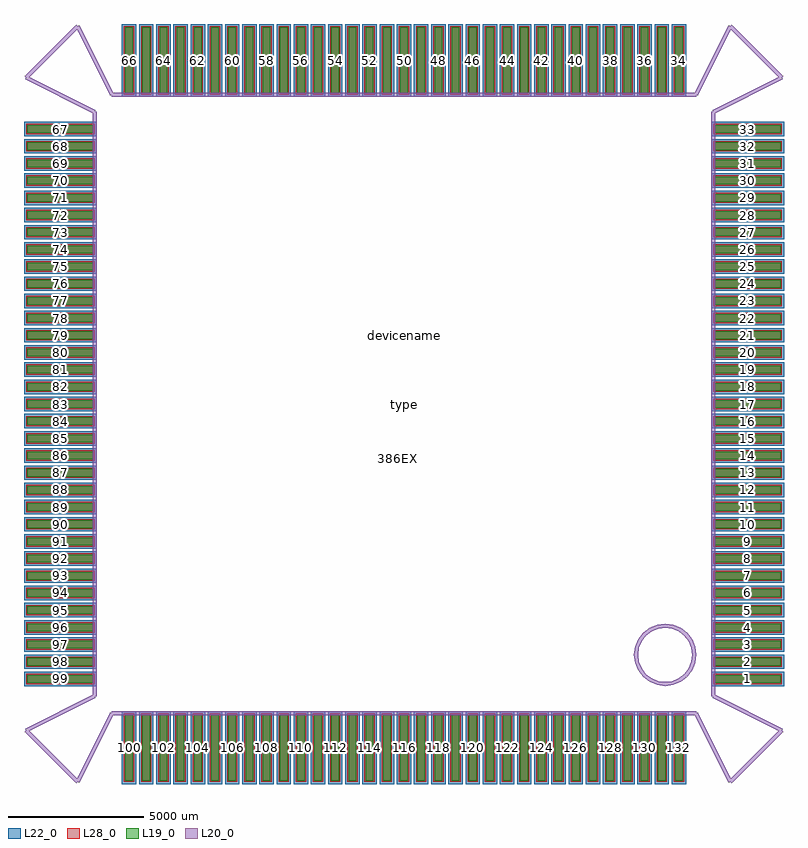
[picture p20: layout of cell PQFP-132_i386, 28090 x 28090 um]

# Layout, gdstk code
import gdstk
lib = gdstk.Library(unit=1e-6, precision=1e-09)
def R(c, l, rs):  # rectangles x0, y0, x1, y1
    for r in rs: c.add(gdstk.rectangle(r[:2], r[2:], *l))
def A(c, l, x, y, w, h, nx, ny, dx, dy):  # array of equal rectangles
    R(c, l, [(x+i*dx, y+j*dy, x+i*dx+w, y+j*dy+h) for i in range(nx) for j in range(ny)])
L19_0 = (19, 0)
L20_0 = (20, 0)
L22_0 = (22, 0)
L28_0 = (28, 0)

pqfp_132_i386 = lib.new_cell('PQFP-132_i386')
A(pqfp_132_i386, L19_0, -10300.5, -13920, 281, 2440, 33, 2, 635, 25400)
A(pqfp_132_i386, L19_0, -13920, -10300.5, 2440, 281, 1, 33, 0, 635)
A(pqfp_132_i386, L19_0, 11480, -10300.5, 2440, 281, 1, 33, 0, 635)
A(pqfp_132_i386, L22_0, -10425.5, -14045, 531, 2690, 33, 2, 635, 25400)
A(pqfp_132_i386, L22_0, -14045, -10425.5, 2690, 531, 1, 33, 0, 635)
A(pqfp_132_i386, L22_0, 11355, -10425.5, 2690, 531, 1, 33, 0, 635)
A(pqfp_132_i386, L28_0, -10350.5, -13970, 381, 2540, 33, 2, 635, 25400)
A(pqfp_132_i386, L28_0, -13970, -10350.5, 2540, 381, 1, 33, 0, 635)
A(pqfp_132_i386, L28_0, 11430, -10350.5, 2540, 381, 1, 33, 0, 635)
pqfp_132_i386.add(gdstk.FlexPath([(10414,-10033),(10585.256,-9809.815),(10692.911,-9549.911),(10729.631,-9271),(10692.911,-8992.089),(10585.256,-8732.185),(10414,-8509),(10190.815,-8337.744),(9930.911,-8230.089),(9652,-8193.369),(9373.089,-8230.089),(9113.185,-8337.744),(8890,-8509),(8718.744,-8732.185),(8611.089,-8992.089),(8574.369,-9271),(8611.089,-9549.911),(8718.744,-9809.815),(8890,-10033),(9113.185,-10204.256),(9373.089,-10311.911),(9652,-10348.631),(9930.911,-10311.911),(10190.815,-10204.256),(10414,-10033)], 149.998, ends="flush", simple_path=True, layer=20, datatype=0))  # L20_0
pqfp_132_i386.add(gdstk.FlexPath([(12065,13970),(10795,11430)], 149.998, ends="flush", simple_path=True, layer=20, datatype=0))  # L20_0
pqfp_132_i386.add(gdstk.FlexPath([(13970,12065),(12065,13970)], 149.998, ends="flush", simple_path=True, layer=20, datatype=0))  # L20_0
pqfp_132_i386.add(gdstk.FlexPath([(11430,10795),(13970,12065)], 149.998, ends="flush", simple_path=True, layer=20, datatype=0))  # L20_0
pqfp_132_i386.add(gdstk.FlexPath([(11430,-10795),(11430,10795)], 149.998, ends="flush", simple_path=True, layer=20, datatype=0))  # L20_0
pqfp_132_i386.add(gdstk.FlexPath([(13970,-12065),(11430,-10795)], 149.998, ends="flush", simple_path=True, layer=20, datatype=0))  # L20_0
pqfp_132_i386.add(gdstk.FlexPath([(12065,-13970),(13970,-12065)], 149.998, ends="flush", simple_path=True, layer=20, datatype=0))  # L20_0
pqfp_132_i386.add(gdstk.FlexPath([(10795,-11430),(12065,-13970)], 149.998, ends="flush", simple_path=True, layer=20, datatype=0))  # L20_0
pqfp_132_i386.add(gdstk.FlexPath([(-10795,-11430),(10795,-11430)], 149.998, ends="flush", simple_path=True, layer=20, datatype=0))  # L20_0
pqfp_132_i386.add(gdstk.FlexPath([(-12065,-13970),(-10795,-11430)], 149.998, ends="flush", simple_path=True, layer=20, datatype=0))  # L20_0
pqfp_132_i386.add(gdstk.FlexPath([(-13970,-12065),(-12065,-13970)], 149.998, ends="flush", simple_path=True, layer=20, datatype=0))  # L20_0
pqfp_132_i386.add(gdstk.FlexPath([(-11430,-10795),(-13970,-12065)], 149.998, ends="flush", simple_path=True, layer=20, datatype=0))  # L20_0
pqfp_132_i386.add(gdstk.FlexPath([(-11430,10795),(-11430,-10795)], 149.998, ends="flush", simple_path=True, layer=20, datatype=0))  # L20_0
pqfp_132_i386.add(gdstk.FlexPath([(-13970,12065),(-11430,10795)], 149.998, ends="flush", simple_path=True, layer=20, datatype=0))  # L20_0
pqfp_132_i386.add(gdstk.FlexPath([(-12065,13970),(-13970,12065)], 149.998, ends="flush", simple_path=True, layer=20, datatype=0))  # L20_0
pqfp_132_i386.add(gdstk.FlexPath([(-10795,11430),(-12065,13970)], 149.998, ends="flush", simple_path=True, layer=20, datatype=0))  # L20_0
pqfp_132_i386.add(gdstk.FlexPath([(10795,11430),(-10795,11430)], 149.998, ends="flush", simple_path=True, layer=20, datatype=0))  # L20_0
pqfp_132_i386.add(gdstk.Label('132', (10160,-12700), layer=28, texttype=0))
pqfp_132_i386.add(gdstk.Label('131', (9525,-12700), layer=28, texttype=0))
pqfp_132_i386.add(gdstk.Label('130', (8890,-12700), layer=28, texttype=0))
pqfp_132_i386.add(gdstk.Label('129', (8255,-12700), layer=28, texttype=0))
pqfp_132_i386.add(gdstk.Label('128', (7620,-12700), layer=28, texttype=0))
pqfp_132_i386.add(gdstk.Label('127', (6985,-12700), layer=28, texttype=0))
pqfp_132_i386.add(gdstk.Label('126', (6350,-12700), layer=28, texttype=0))
pqfp_132_i386.add(gdstk.Label('125', (5715,-12700), layer=28, texttype=0))
pqfp_132_i386.add(gdstk.Label('124', (5080,-12700), layer=28, texttype=0))
pqfp_132_i386.add(gdstk.Label('123', (4445,-12700), layer=28, texttype=0))
pqfp_132_i386.add(gdstk.Label('122', (3810,-12700), layer=28, texttype=0))
pqfp_132_i386.add(gdstk.Label('121', (3175,-12700), layer=28, texttype=0))
pqfp_132_i386.add(gdstk.Label('120', (2540,-12700), layer=28, texttype=0))
pqfp_132_i386.add(gdstk.Label('119', (1905,-12700), layer=28, texttype=0))
pqfp_132_i386.add(gdstk.Label('118', (1270,-12700), layer=28, texttype=0))
pqfp_132_i386.add(gdstk.Label('117', (635,-12700), layer=28, texttype=0))
pqfp_132_i386.add(gdstk.Label('116', (0,-12700), layer=28, texttype=0))
pqfp_132_i386.add(gdstk.Label('115', (-635,-12700), layer=28, texttype=0))
pqfp_132_i386.add(gdstk.Label('114', (-1270,-12700), layer=28, texttype=0))
pqfp_132_i386.add(gdstk.Label('113', (-1905,-12700), layer=28, texttype=0))
pqfp_132_i386.add(gdstk.Label('112', (-2540,-12700), layer=28, texttype=0))
pqfp_132_i386.add(gdstk.Label('111', (-3175,-12700), layer=28, texttype=0))
pqfp_132_i386.add(gdstk.Label('110', (-3810,-12700), layer=28, texttype=0))
pqfp_132_i386.add(gdstk.Label('109', (-4445,-12700), layer=28, texttype=0))
pqfp_132_i386.add(gdstk.Label('108', (-5080,-12700), layer=28, texttype=0))
pqfp_132_i386.add(gdstk.Label('107', (-5715,-12700), layer=28, texttype=0))
pqfp_132_i386.add(gdstk.Label('106', (-6350,-12700), layer=28, texttype=0))
pqfp_132_i386.add(gdstk.Label('105', (-6985,-12700), layer=28, texttype=0))
pqfp_132_i386.add(gdstk.Label('104', (-7620,-12700), layer=28, texttype=0))
pqfp_132_i386.add(gdstk.Label('103', (-8255,-12700), layer=28, texttype=0))
pqfp_132_i386.add(gdstk.Label('102', (-8890,-12700), layer=28, texttype=0))
pqfp_132_i386.add(gdstk.Label('101', (-9525,-12700), layer=28, texttype=0))
pqfp_132_i386.add(gdstk.Label('100', (-10160,-12700), layer=28, texttype=0))
pqfp_132_i386.add(gdstk.Label('99', (-12700,-10160), layer=28, texttype=0))
pqfp_132_i386.add(gdstk.Label('98', (-12700,-9525), layer=28, texttype=0))
pqfp_132_i386.add(gdstk.Label('97', (-12700,-8890), layer=28, texttype=0))
pqfp_132_i386.add(gdstk.Label('96', (-12700,-8255), layer=28, texttype=0))
pqfp_132_i386.add(gdstk.Label('95', (-12700,-7620), layer=28, texttype=0))
pqfp_132_i386.add(gdstk.Label('94', (-12700,-6985), layer=28, texttype=0))
pqfp_132_i386.add(gdstk.Label('93', (-12700,-6350), layer=28, texttype=0))
pqfp_132_i386.add(gdstk.Label('92', (-12700,-5715), layer=28, texttype=0))
pqfp_132_i386.add(gdstk.Label('91', (-12700,-5080), layer=28, texttype=0))
pqfp_132_i386.add(gdstk.Label('90', (-12700,-4445), layer=28, texttype=0))
pqfp_132_i386.add(gdstk.Label('89', (-12700,-3810), layer=28, texttype=0))
pqfp_132_i386.add(gdstk.Label('88', (-12700,-3175), layer=28, texttype=0))
pqfp_132_i386.add(gdstk.Label('87', (-12700,-2540), layer=28, texttype=0))
pqfp_132_i386.add(gdstk.Label('86', (-12700,-1905), layer=28, texttype=0))
pqfp_132_i386.add(gdstk.Label('85', (-12700,-1270), layer=28, texttype=0))
pqfp_132_i386.add(gdstk.Label('84', (-12700,-635), layer=28, texttype=0))
pqfp_132_i386.add(gdstk.Label('83', (-12700,0), layer=28, texttype=0))
pqfp_132_i386.add(gdstk.Label('82', (-12700,635), layer=28, texttype=0))
pqfp_132_i386.add(gdstk.Label('81', (-12700,1270), layer=28, texttype=0))
pqfp_132_i386.add(gdstk.Label('80', (-12700,1905), layer=28, texttype=0))
pqfp_132_i386.add(gdstk.Label('79', (-12700,2540), layer=28, texttype=0))
pqfp_132_i386.add(gdstk.Label('78', (-12700,3175), layer=28, texttype=0))
pqfp_132_i386.add(gdstk.Label('77', (-12700,3810), layer=28, texttype=0))
pqfp_132_i386.add(gdstk.Label('76', (-12700,4445), layer=28, texttype=0))
pqfp_132_i386.add(gdstk.Label('75', (-12700,5080), layer=28, texttype=0))
pqfp_132_i386.add(gdstk.Label('74', (-12700,5715), layer=28, texttype=0))
pqfp_132_i386.add(gdstk.Label('73', (-12700,6350), layer=28, texttype=0))
pqfp_132_i386.add(gdstk.Label('72', (-12700,6985), layer=28, texttype=0))
pqfp_132_i386.add(gdstk.Label('71', (-12700,7620), layer=28, texttype=0))
pqfp_132_i386.add(gdstk.Label('70', (-12700,8255), layer=28, texttype=0))
pqfp_132_i386.add(gdstk.Label('69', (-12700,8890), layer=28, texttype=0))
pqfp_132_i386.add(gdstk.Label('68', (-12700,9525), layer=28, texttype=0))
pqfp_132_i386.add(gdstk.Label('67', (-12700,10160), layer=28, texttype=0))
pqfp_132_i386.add(gdstk.Label('66', (-10160,12700), layer=28, texttype=0))
pqfp_132_i386.add(gdstk.Label('65', (-9525,12700), layer=28, texttype=0))
pqfp_132_i386.add(gdstk.Label('64', (-8890,12700), layer=28, texttype=0))
pqfp_132_i386.add(gdstk.Label('63', (-8255,12700), layer=28, texttype=0))
pqfp_132_i386.add(gdstk.Label('62', (-7620,12700), layer=28, texttype=0))
pqfp_132_i386.add(gdstk.Label('61', (-6985,12700), layer=28, texttype=0))
pqfp_132_i386.add(gdstk.Label('60', (-6350,12700), layer=28, texttype=0))
pqfp_132_i386.add(gdstk.Label('59', (-5715,12700), layer=28, texttype=0))
pqfp_132_i386.add(gdstk.Label('58', (-5080,12700), layer=28, texttype=0))
pqfp_132_i386.add(gdstk.Label('57', (-4445,12700), layer=28, texttype=0))
pqfp_132_i386.add(gdstk.Label('56', (-3810,12700), layer=28, texttype=0))
pqfp_132_i386.add(gdstk.Label('55', (-3175,12700), layer=28, texttype=0))
pqfp_132_i386.add(gdstk.Label('54', (-2540,12700), layer=28, texttype=0))
pqfp_132_i386.add(gdstk.Label('53', (-1905,12700), layer=28, texttype=0))
pqfp_132_i386.add(gdstk.Label('52', (-1270,12700), layer=28, texttype=0))
pqfp_132_i386.add(gdstk.Label('51', (-635,12700), layer=28, texttype=0))
pqfp_132_i386.add(gdstk.Label('50', (0,12700), layer=28, texttype=0))
pqfp_132_i386.add(gdstk.Label('49', (635,12700), layer=28, texttype=0))
pqfp_132_i386.add(gdstk.Label('48', (1270,12700), layer=28, texttype=0))
pqfp_132_i386.add(gdstk.Label('47', (1905,12700), layer=28, texttype=0))
pqfp_132_i386.add(gdstk.Label('46', (2540,12700), layer=28, texttype=0))
pqfp_132_i386.add(gdstk.Label('45', (3175,12700), layer=28, texttype=0))
pqfp_132_i386.add(gdstk.Label('44', (3810,12700), layer=28, texttype=0))
pqfp_132_i386.add(gdstk.Label('43', (4445,12700), layer=28, texttype=0))
pqfp_132_i386.add(gdstk.Label('42', (5080,12700), layer=28, texttype=0))
pqfp_132_i386.add(gdstk.Label('41', (5715,12700), layer=28, texttype=0))
pqfp_132_i386.add(gdstk.Label('40', (6350,12700), layer=28, texttype=0))
pqfp_132_i386.add(gdstk.Label('39', (6985,12700), layer=28, texttype=0))
pqfp_132_i386.add(gdstk.Label('38', (7620,12700), layer=28, texttype=0))
pqfp_132_i386.add(gdstk.Label('37', (8255,12700), layer=28, texttype=0))
pqfp_132_i386.add(gdstk.Label('36', (8890,12700), layer=28, texttype=0))
pqfp_132_i386.add(gdstk.Label('35', (9525,12700), layer=28, texttype=0))
pqfp_132_i386.add(gdstk.Label('34', (10160,12700), layer=28, texttype=0))
pqfp_132_i386.add(gdstk.Label('33', (12700,10160), layer=28, texttype=0))
pqfp_132_i386.add(gdstk.Label('32', (12700,9525), layer=28, texttype=0))
pqfp_132_i386.add(gdstk.Label('31', (12700,8890), layer=28, texttype=0))
pqfp_132_i386.add(gdstk.Label('30', (12700,8255), layer=28, texttype=0))
pqfp_132_i386.add(gdstk.Label('29', (12700,7620), layer=28, texttype=0))
pqfp_132_i386.add(gdstk.Label('28', (12700,6985), layer=28, texttype=0))
pqfp_132_i386.add(gdstk.Label('27', (12700,6350), layer=28, texttype=0))
pqfp_132_i386.add(gdstk.Label('26', (12700,5715), layer=28, texttype=0))
pqfp_132_i386.add(gdstk.Label('25', (12700,5080), layer=28, texttype=0))
pqfp_132_i386.add(gdstk.Label('24', (12700,4445), layer=28, texttype=0))
pqfp_132_i386.add(gdstk.Label('23', (12700,3810), layer=28, texttype=0))
pqfp_132_i386.add(gdstk.Label('22', (12700,3175), layer=28, texttype=0))
pqfp_132_i386.add(gdstk.Label('21', (12700,2540), layer=28, texttype=0))
pqfp_132_i386.add(gdstk.Label('20', (12700,1905), layer=28, texttype=0))
pqfp_132_i386.add(gdstk.Label('19', (12700,1270), layer=28, texttype=0))
pqfp_132_i386.add(gdstk.Label('18', (12700,635), layer=28, texttype=0))
pqfp_132_i386.add(gdstk.Label('17', (12700,0), layer=28, texttype=0))
pqfp_132_i386.add(gdstk.Label('16', (12700,-635), layer=28, texttype=0))
pqfp_132_i386.add(gdstk.Label('15', (12700,-1270), layer=28, texttype=0))
pqfp_132_i386.add(gdstk.Label('14', (12700,-1905), layer=28, texttype=0))
pqfp_132_i386.add(gdstk.Label('13', (12700,-2540), layer=28, texttype=0))
pqfp_132_i386.add(gdstk.Label('12', (12700,-3175), layer=28, texttype=0))
pqfp_132_i386.add(gdstk.Label('11', (12700,-3810), layer=28, texttype=0))
pqfp_132_i386.add(gdstk.Label('10', (12700,-4445), layer=28, texttype=0))
pqfp_132_i386.add(gdstk.Label('9', (12700,-5080), layer=28, texttype=0))
pqfp_132_i386.add(gdstk.Label('8', (12700,-5715), layer=28, texttype=0))
pqfp_132_i386.add(gdstk.Label('7', (12700,-6350), layer=28, texttype=0))
pqfp_132_i386.add(gdstk.Label('6', (12700,-6985), layer=28, texttype=0))
pqfp_132_i386.add(gdstk.Label('5', (12700,-7620), layer=28, texttype=0))
pqfp_132_i386.add(gdstk.Label('4', (12700,-8255), layer=28, texttype=0))
pqfp_132_i386.add(gdstk.Label('3', (12700,-8890), layer=28, texttype=0))
pqfp_132_i386.add(gdstk.Label('2', (12700,-9525), layer=28, texttype=0))
pqfp_132_i386.add(gdstk.Label('1', (12700,-10160), layer=28, texttype=0))
pqfp_132_i386.add(gdstk.Label('386EX', (-254,-2032), layer=9, texttype=0))
pqfp_132_i386.add(gdstk.Label('type', (0,0), layer=9, texttype=0))
pqfp_132_i386.add(gdstk.Label('devicename', (0,2540), layer=9, texttype=0))

lib.write_gds('PQFP-132_i386.gds')
